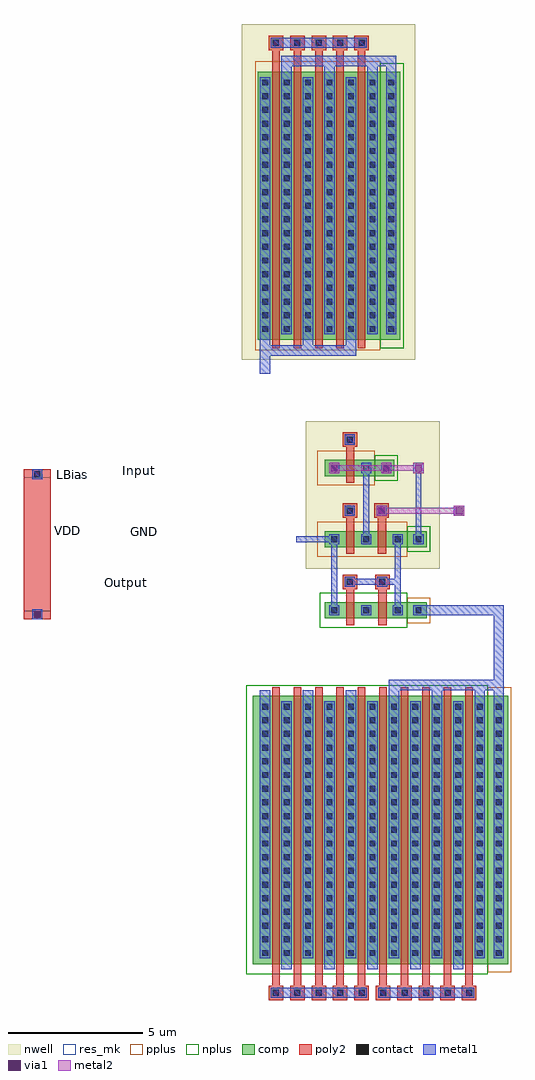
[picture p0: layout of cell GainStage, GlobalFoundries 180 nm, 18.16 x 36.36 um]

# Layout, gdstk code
import gdstk
lib = gdstk.Library(unit=1e-6, precision=1e-09)
def R(c, l, rs):  # rectangles x0, y0, x1, y1
    for r in rs: c.add(gdstk.rectangle(r[:2], r[2:], *l))
def A(c, l, x, y, w, h, nx, ny, dx, dy):  # array of equal rectangles
    R(c, l, [(x+i*dx, y+j*dy, x+i*dx+w, y+j*dy+h) for i in range(nx) for j in range(ny)])
nwell = (21, 0)
comp = (22, 0)
poly2 = (30, 0)
pplus = (31, 0)
nplus = (32, 0)
contact = (33, 0)
metal1 = (34, 0)
via1 = (35, 0)
metal2 = (36, 0)
res_mk = (110, 5)

gainstage = lib.new_cell('GainStage')
R(gainstage, nwell, [(6.285,-1.38,11.285,4.12), (3.9,6.41,10.371,18.91)])
R(gainstage, comp, [(4.32,-16.106,13.821,-6.105), (6.985,-3.23,10.785,-2.63), (6.985,-0.58,10.785,0.02), (6.985,2.07,9.585,2.67), (4.5,7.14,9.801,17.14)])
A(gainstage, poly2, 4.9, -17.446, 0.54, 0.54, 5, 2, 0.8, 35.386)
A(gainstage, poly2, 8.901, -17.446, 0.54, 0.54, 5, 1, 0.8, 0)
A(gainstage, poly2, 5.03, -16.906, 0.28, 11.101, 5, 1, 0.8, 0)
A(gainstage, poly2, 9.031, -16.906, 0.28, 11.101, 5, 1, 0.8, 0)
A(gainstage, poly2, 7.785, -3.48, 0.3, 1.34, 1, 3, 0, 2.65)
A(gainstage, poly2, 7.655, -2.14, 0.54, 0.54, 1, 3, 0, 2.65)
A(gainstage, poly2, 5.03, 6.84, 0.28, 11.1, 5, 1, 0.8, 0)
R(gainstage, poly2, [(8.995,-3.48,9.295,-2.14), (-4.22,-3.27,-3.22,2.33), (8.865,-2.14,9.405,-1.6), (8.975,-0.83,9.275,0.51), (8.845,0.51,9.385,1.05)])
R(gainstage, pplus, [(13.061,-16.406,13.941,-5.795), (10.06,-3.405,10.915,-2.455), (6.715,-0.93,10.065,0.37), (6.71,1.72,8.86,3.02), (4.41,6.765,9.061,17.515)])
R(gainstage, nplus, [(4.06,-16.481,13.061,-5.73), (6.81,-3.58,10.06,-2.28), (10.065,-0.75,10.92,0.2), (8.86,1.9,9.715,2.85), (9.061,6.83,9.941,17.44)])
A(gainstage, contact, 5.06, -17.286, 0.22, 0.22, 5, 2, 0.8, 35.386)
A(gainstage, contact, 9.061, -17.286, 0.22, 0.22, 5, 1, 0.8, 0)
A(gainstage, contact, 4.66, -15.806, 0.22, 0.22, 5, 5, 0.8, 0.51)
A(gainstage, contact, 8.66, -15.806, 0.221, 0.22, 1, 5, 0, 0.51)
A(gainstage, contact, 9.461, -15.806, 0.22, 0.22, 5, 5, 0.8, 0.51)
A(gainstage, contact, 13.361, -15.806, 0.22, 0.22, 1, 5, 0, 0.51)
A(gainstage, contact, 4.66, -13.256, 0.22, 0.221, 5, 1, 0.8, 0)
A(gainstage, contact, 9.461, -13.256, 0.22, 0.221, 5, 1, 0.8, 0)
A(gainstage, contact, 4.66, -12.745, 0.22, 0.22, 5, 13, 0.8, 0.51)
A(gainstage, contact, 8.66, -12.745, 0.221, 0.22, 1, 13, 0, 0.51)
A(gainstage, contact, 9.461, -12.745, 0.22, 0.22, 5, 13, 0.8, 0.51)
A(gainstage, contact, 13.361, -12.745, 0.22, 0.22, 1, 13, 0, 0.51)
A(gainstage, contact, 7.235, -3.04, 0.22, 0.22, 1, 3, 0, 2.65)
A(gainstage, contact, 8.425, -3.04, 0.22, 0.22, 1, 3, 0, 2.65)
A(gainstage, contact, 7.815, -1.98, 0.22, 0.22, 1, 3, 0, 2.65)
A(gainstage, contact, 4.66, 7.44, 0.22, 0.22, 5, 19, 0.8, 0.51)
A(gainstage, contact, 8.66, 7.44, 0.221, 0.22, 1, 19, 0, 0.51)
A(gainstage, contact, 9.361, 7.44, 0.22, 0.22, 1, 19, 0, 0.51)
R(gainstage, contact, [(8.66,-13.256,8.881,-13.035), (13.361,-13.256,13.581,-13.035), (-3.83,-3.19,-3.61,-2.97), (9.605,-3.04,9.825,-2.82), (10.375,-3.04,10.595,-2.82), (9.025,-1.98,9.245,-1.76), (9.605,-0.39,9.825,-0.17), (10.375,-0.39,10.595,-0.17), (9.005,0.67,9.225,0.89), (-3.83,2.03,-3.61,2.25), (9.175,2.26,9.395,2.48)])
A(gainstage, metal1, 4.98, -17.366, 0.38, 0.38, 5, 2, 0.8, 35.386)
A(gainstage, metal1, 8.981, -17.366, 0.38, 0.38, 5, 1, 0.8, 0)
A(gainstage, metal1, 4.58, -15.886, 0.38, 9.561, 5, 1, 0.8, 0)
A(gainstage, metal1, 9.381, -15.886, 0.38, 9.561, 5, 1, 0.8, 0)
A(gainstage, metal1, 4.58, -6.325, 0.38, 0.42, 3, 2, 1.6, 13.265)
A(gainstage, metal1, 9.381, -6.325, 0.38, 0.42, 3, 1, 1.6, 0)
A(gainstage, metal1, 7.155, -3.12, 0.38, 0.38, 1, 3, 0, 2.65)
A(gainstage, metal1, 8.345, -3.12, 0.38, 0.38, 1, 3, 0, 2.65)
A(gainstage, metal1, 10.295, -3.12, 0.38, 0.38, 1, 3, 0, 2.65)
A(gainstage, metal1, 7.735, -2.06, 0.38, 0.38, 1, 3, 0, 2.65)
A(gainstage, metal1, 4.58, 7.36, 0.38, 9.56, 5, 1, 0.8, 0)
R(gainstage, metal1, [(4.98,-17.366,8.56,-16.986), (8.981,-17.366,12.561,-16.986), (5.38,-16.306,5.76,-15.886), (6.98,-16.306,7.36,-15.886), (8.58,-16.306,8.961,-15.886), (10.181,-16.306,10.561,-15.886), (11.781,-16.306,12.161,-15.886), (8.58,-15.886,8.961,-6.325), (13.281,-15.886,13.661,-6.325), (13.281,-6.325,13.661,-5.905), (9.381,-5.905,13.661,-5.525), (13.28,-5.905,13.66,-2.74), (-3.91,-3.27,-3.53,-2.89), (9.525,-3.12,9.905,-2.74), (10.675,-3.12,13.66,-2.74), (7.235,-2.74,7.455,-0.47), (9.605,-2.74,9.825,-0.47), (8.945,-2.06,9.325,-1.68), (8.115,-1.98,8.945,-1.76), (9.325,-1.98,9.825,-1.76), (9.525,-0.47,9.905,-0.09), (5.925,-0.39,7.455,-0.17), (8.425,-0.09,8.645,2.18), (10.375,-0.09,10.595,2.18), (8.925,0.59,9.305,0.97), (11.805,0.59,12.185,0.97), (-3.91,1.95,-3.53,2.33), (9.095,2.18,9.475,2.56), (4.58,5.88,4.96,6.56), (4.58,6.56,8.16,6.94), (8.58,7.36,8.961,16.92), (9.281,7.36,9.661,16.92), (5.38,16.92,5.76,17.34), (6.98,16.92,7.36,17.34), (8.58,16.92,8.961,17.34), (9.281,16.92,9.661,17.34), (5.38,17.34,9.661,17.72), (4.98,18.02,8.56,18.4)])
R(gainstage, via1, [(-3.85,-3.21,-3.59,-2.95), (8.985,0.65,9.245,0.91), (11.865,0.65,12.125,0.91), (7.215,2.24,7.475,2.5), (9.155,2.24,9.415,2.5), (10.355,2.24,10.615,2.5)])
R(gainstage, metal2, [(8.925,0.59,9.305,0.97), (11.805,0.59,12.185,0.97), (9.005,0.67,12.105,0.89), (7.155,2.18,7.535,2.56), (9.095,2.18,9.475,2.56), (10.295,2.18,10.675,2.56), (7.235,2.26,10.595,2.48)])
R(gainstage, res_mk, [(-4.22,-2.97,-3.22,2.03)])
gainstage.add(gdstk.Label('Output', (-0.404,-1.912), layer=34, texttype=10))
gainstage.add(gdstk.Label('VDD', (-2.598,0.036), layer=34, texttype=10))
gainstage.add(gdstk.Label('Input', (0.092,2.28), layer=34, texttype=10))
gainstage.add(gdstk.Label('CBias', (-0.09,2.28), layer=34, texttype=10))
gainstage.add(gdstk.Label('GND', (0.295,0), layer=34, texttype=10))
gainstage.add(gdstk.Label('LBias', (-2.413,2.134), layer=34, texttype=10))

lib.write_gds('GainStage.gds')
